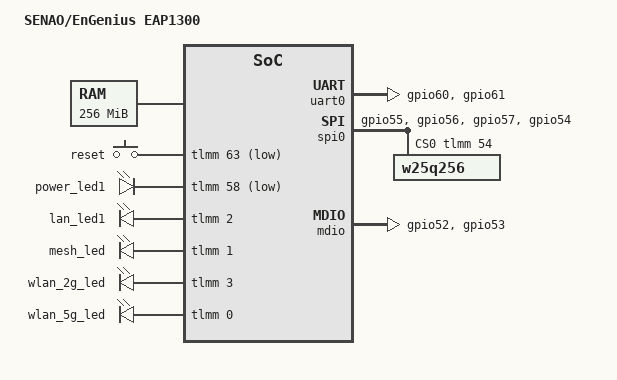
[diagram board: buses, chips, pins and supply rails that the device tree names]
#include "ipq40xx.dtsi"
#include <dt-bindings/gpio/gpio.h>
#include <dt-bindings/input/input.h>

/ {
	model = "SENAO/EnGenius EAP1300";

	memory {
		device_type = "memory";
		reg = <0x80000000 0x10000000>; /* 256MB */
	};
};

&tlmm {
	uart0_pins: uart0_pinmux {
		mux_uart {
			pins = "gpio60", "gpio61";
			function = "blsp_uart0";
			bias-disable;
		};
	};

	spi0_pins: spi0_pinmux {
		mux_spi {
			function = "blsp_spi0";
			pins = "gpio55", "gpio56", "gpio57";
			bias-disable;
		};
		mux_cs {
			function = "gpio";
			pins = "gpio54";
			bias-disable;
			output-high;
		};
	};

	mdio_pins: mdio_pinmux {
		mux_mdc {
			pins = "gpio52";
			function = "mdc";
			bias-pull-up;
		};
		mux_mdio {
			pins = "gpio53";
			function = "mdio1";
			bias-pull-up;
		};
	};
};

&uart0 {
	pinctrl-0 = <&uart0_pins>;
	pinctrl-names = "default";
};

&spi0 {
	pinctrl-0 = <&spi0_pins>;
	pinctrl-names = "default";

	spi-max-frequency = <24000000>;
	cs-gpios = <&tlmm 54 0>;
	num-cs = <1>;

	w25q256@0 {
		compatible = "w25q256", "jedec,spi-nor";
		reg = <0>;
	};
};

&mdio {
	pinctrl-0 = <&mdio_pins>;
	pinctrl-names = "default";
};

/ {
	soc {
		gpio_keys {
			compatible = "gpio-keys";

			button@1 {
				label = "reset";
				gpios = <&tlmm 63 GPIO_ACTIVE_LOW>;
				linux,code = <KEY_RESTART>;
				linux,input-type = <1>;
			};
		};

		leds {
			compatible = "gpio-leds";

			power {
				label = "power_led1";
				gpios = <&tlmm 58 GPIO_ACTIVE_LOW>;
				default-state = "on";
			};

			lan {
				label = "lan_led1";
				gpios = <&tlmm 2 GPIO_ACTIVE_HIGH>;
				default-state = "off";
			};

			mesh {
				label = "mesh_led";
				gpios = <&tlmm 1 GPIO_ACTIVE_HIGH>;
				default-state = "off";
			};

			wlan-2g {
				label = "wlan_2g_led";
				gpios = <&tlmm 3 GPIO_ACTIVE_HIGH>;
				default-state = "on";
			};

			wlan-5g {
				label = "wlan_5g_led";
				gpios = <&tlmm 0 GPIO_ACTIVE_HIGH>;
				default-state = "on";
			};
		};
	};
};
